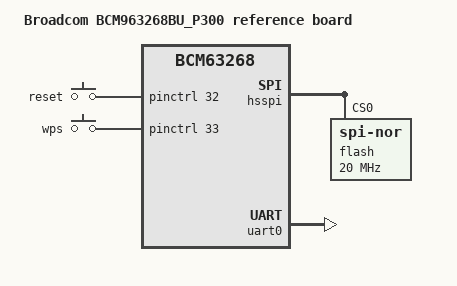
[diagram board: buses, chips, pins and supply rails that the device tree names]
/dts-v1/;

#include "bcm63268.dtsi"

#include <dt-bindings/input/input.h>

/ {
	model = "Broadcom BCM963268BU_P300 reference board";
	compatible = "brcm,bcm963268bu_p300", "brcm,bcm63268";

	chosen {
		bootargs = "rootfstype=squashfs,jffs2 noinitrd console=ttyS0,115200";
		stdout-path = "serial0:115200n8";
	};

	gpio-keys-polled {
		compatible = "gpio-keys-polled";
		#address-cells = <1>;
		#size-cells = <0>;
		poll-interval = <20>;

		reset {
			label = "reset";
			gpios = <&pinctrl 32 0>;
			linux,code = <KEY_RESTART>;
			debounce-interval = <60>;
		};

		wps {
			label = "wps";
			gpios = <&pinctrl 33 0>;
			linux,code = <KEY_WPS_BUTTON>;
			debounce-interval = <60>;
		};
	};
};

&hsspi {
	status = "ok";

	flash@0 {
		compatible = "jedec,spi-nor";
		spi-max-frequency = <20000000>;
		spi-tx-bus-width = <2>;
		spi-rx-bus-width = <2>;
		reg = <0>;

		#address-cells = <1>;
		#size-cells = <1>;

		partitions {
			compatible = "brcm,bcm963xx-cfe-nor-partitions";
		};
	};
};

&uart0 {
	status = "ok";
};
